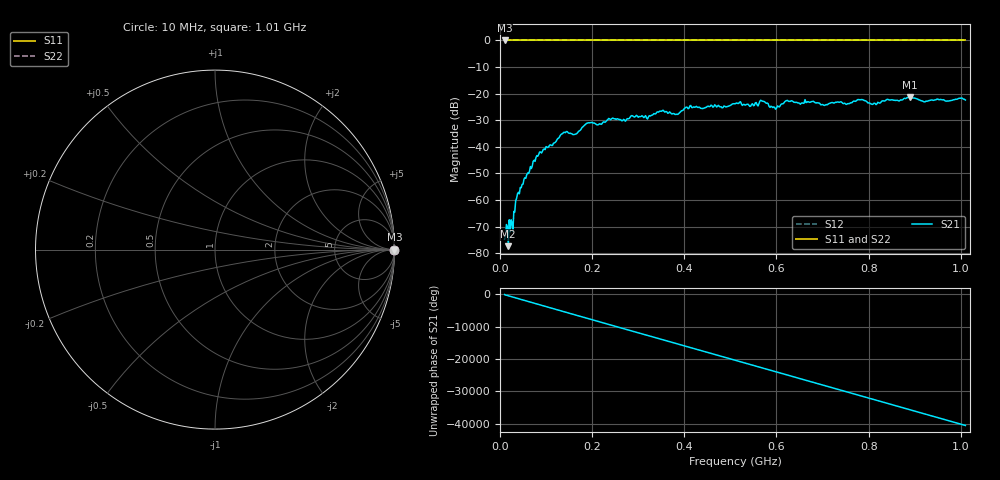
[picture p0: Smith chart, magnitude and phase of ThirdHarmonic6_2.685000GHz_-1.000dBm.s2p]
! 8/17/2025 6:20:13 AM
! C:\ANRITSUVNA\TEMP\TEMP.S2P
! CHANNEL.1
! TR.MEASUREMENT
! RAW.DATA
! RF.CORRECTION.OFF
! AVERAGING.OFF
! IF.BANDWIDTH: 5KHZ
! SWEEPTYPE:  FREQ.SWEEP(Linear)
! Reference Plane Port Info
! PORT:  PORT1  PORT2
! DISTANCE:  0  m  0  m
! TIME:  0  s  0  s
! PHASE.OFFSET:  0  deg.  0  deg.
! LOSS:  0  dB  0  dB
! REF.LOSS:  0  dB  0  dB
! REF.FREQ:  0  Hz  0  Hz
! Power Info
! POWER:  -20  dBm  -20  dBm
! EFF.POWER:  -20  dBm  -20  dBm
! SOURCE.ATTEN:  0  dB  0  dB
! TEST.ATTEN:  0  dB  0  dB
# GHZ S RI R 50.0
! FREQ.GHZ  S11RE  S11IM  S21RE  S21IM  S12RE  S12IM  S22RE  S22IM
!; PortSelection: Port_12
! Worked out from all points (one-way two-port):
!   501 points, 10 MHz to 1.01 GHz, reference 50 ohm
!   highest |S21| = -21.39 dB at 890 MHz (marker M1); lowest = -77.3 dB at 18 MHz (marker M2)
!   lowest |S11| = 0.0 dB at 10 MHz (marker M3)
!   |S11| at or under -10 dB: nowhere
!   |S22| runs from 0.0 to 0.0 dB; largest |S21 - S12| = 1.1
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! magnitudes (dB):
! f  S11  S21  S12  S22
! 10 MHz  0.0  -74.8  0.0  0.0
! 18 MHz  0.0  -77.3  0.0  0.0
! 26 MHz  0.0  -68.4  0.0  0.0
! 40 MHz  0.0  -57.1  0.0  0.0
! 82 MHz  0.0  -43.5  0.0  0.0
! 136 MHz  0.0  -35.0  0.0  0.0
! 162 MHz  0.0  -35.3  0.0  0.0
! 178 MHz  0.0  -32.7  0.0  0.0
! 344 MHz  0.0  -27.0  0.0  0.0
! 384 MHz  0.0  -27.7  0.0  0.0
! 410 MHz  0.0  -25.5  0.0  0.0
! 510 MHz  0.0  -23.8  0.0  0.0
! 570 MHz  0.0  -22.8  0.0  0.0
! 596 MHz  0.0  -25.2  0.0  0.0
! 622 MHz  0.0  -22.6  0.0  0.0
! 678 MHz  0.0  -22.9  0.0  0.0
! 706 MHz  0.0  -24.3  0.0  0.0
! 782 MHz  0.0  -22.3  0.0  0.0
! 812 MHz  0.0  -23.6  0.0  0.0
! 844 MHz  0.0  -22.3  0.0  0.0
! 890 MHz  0.0  -21.4  0.0  0.0
! 1.01 GHz  0.0  -22.4  0.0  0.0
